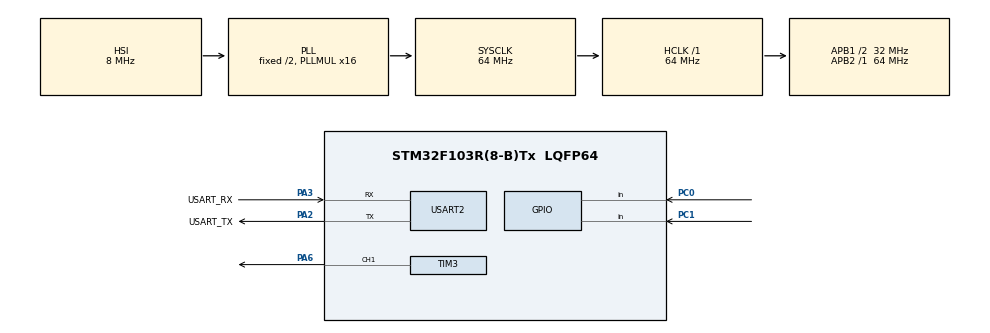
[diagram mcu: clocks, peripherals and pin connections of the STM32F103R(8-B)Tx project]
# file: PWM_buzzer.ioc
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Mcu.Family=STM32F1
Mcu.Name=STM32F103R(8-B)Tx
Mcu.Package=LQFP64
NVIC.PriorityGroup=NVIC_PRIORITYGROUP_4
PA13.GPIO_Label=TMS
PA13.Mode=Serial_Wire
PA13.Signal=SYS_JTMS-SWDIO
PA14.GPIO_Label=TCK
PA14.Mode=Serial_Wire
PA14.Signal=SYS_JTCK-SWCLK
PA2.GPIO_Label=USART_TX
PA2.GPIO_Mode=GPIO_MODE_AF_PP
PA2.GPIO_PuPd=GPIO_NOPULL
PA2.GPIO_Speed=GPIO_SPEED_FREQ_LOW
PA2.Mode=Asynchronous
PA2.Signal=USART2_TX
PA3.GPIO_Label=USART_RX
PA3.GPIO_Mode=GPIO_MODE_AF_PP
PA3.GPIO_PuPd=GPIO_NOPULL
PA3.GPIO_Speed=GPIO_SPEED_FREQ_LOW
PA3.Mode=Asynchronous
PA3.Signal=USART2_RX
PA6.Signal=S_TIM3_CH1
PB3.GPIO_Label=SWO
PB3.Signal=SYS_JTDO-TRACESWO
PC0.Signal=GPIO_Input
PC1.Signal=GPIO_Input
PC14-OSC32_IN.Signal=RCC_OSC32_IN
PC15-OSC32_OUT.Signal=RCC_OSC32_OUT
PD0-OSC_IN.Signal=RCC_OSC_IN
PD1-OSC_OUT.Signal=RCC_OSC_OUT
ProjectManager.HeapSize=0x200
ProjectManager.StackSize=0x400
ProjectManager.TargetToolchain=STM32CubeIDE
RCC.AHBFreq_Value=64000000
RCC.APB1CLKDivider=RCC_HCLK_DIV2
RCC.APB1Freq_Value=32000000
RCC.APB1TimFreq_Value=64000000
RCC.APB2Freq_Value=64000000
RCC.APB2TimFreq_Value=64000000
RCC.HCLKFreq_Value=64000000
RCC.PLLMUL=RCC_PLL_MUL16
RCC.RTCClockSelection=RCC_RTCCLKSOURCE_LSE
RCC.SYSCLKFreq_VALUE=64000000
RCC.SYSCLKSource=RCC_SYSCLKSOURCE_PLLCLK
RCC.USBFreq_Value=64000000
SH.S_TIM3_CH1.0=TIM3_CH1,PWM Generation1 CH1
TIM3.Channel-PWM\ Generation1\ CH1=TIM_CHANNEL_1
TIM3.Period=0
TIM3.Prescaler=64-1
USART2.VirtualMode=VM_ASYNC
VP_TIM3_VS_ClockSourceINT.Mode=Internal
board=NUCLEO-F103RB

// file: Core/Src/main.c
/* USER CODE BEGIN Header */
/**
  ******************************************************************************
  * @file           : main.c
  * @brief          : Main program body
  ******************************************************************************
  * @attention
  *
  * Copyright (c) 2022 STMicroelectronics.
  * All rights reserved.
  *
  * This software is licensed under terms that can be found in the LICENSE file
  * in the root directory of this software component.
  * If no LICENSE file comes with this software, it is provided AS-IS.
  *
  ******************************************************************************
  */
/* USER CODE END Header */
#include "main.h"

/* USER CODE BEGIN PM */
#define TIM3COUNTERCLOCK 1000000
/* USER CODE END PM */

TIM_HandleTypeDef htim3;

UART_HandleTypeDef huart2;

/* USER CODE BEGIN PV */
typedef struct sw_t sw_t;
struct sw_t
{
	GPIO_TypeDef *port;
	int pin;
};
sw_t sw[2] = {
		{GPIOC, GPIO_PIN_0},
		{GPIOC, GPIO_PIN_1}
};
enum notes
{
	C4 = 26163,
	D4 = 29366,
	E4 = 32963,
	F4 = 34923,
	G4 = 39200,
	A4 = 44000,
	B4 = 52325,
	C5 = 52325
};

enum notes SchoolBell[] = {
		G4, G4, A4, A4, G4, G4, E4, G4, G4, E4, E4, D4, G4, G4, A4, A4, G4, G4, E4, G4, E4, D4, C4
};
/* USER CODE END PV */

void SystemClock_Config(void);
static void MX_GPIO_Init(void);
static void MX_USART2_UART_Init(void);
static void MX_TIM3_Init(void);

int main(void)
{

  /* MCU Configuration--------------------------------------------------------*/

  /* Reset of all peripherals, Initializes the Flash interface and the Systick. */
  HAL_Init();

  /* Configure the system clock */
  SystemClock_Config();

  /* Initialize all configured peripherals */
  MX_GPIO_Init();
  MX_USART2_UART_Init();
  MX_TIM3_Init();

  /* Infinite loop */
  /* USER CODE BEGIN WHILE */
  while (1)
  {
	 if(HAL_GPIO_ReadPin(sw[0].port, sw[0].pin) == 1){
		 for (uint8_t i = 0; i < sizeof(SchoolBell)/sizeof(enum notes) && HAL_GPIO_ReadPin(sw[1].port, sw[1].pin) != 1; i++){
			 __HAL_TIM_SET_AUTORELOAD(&htim3, (int)(TIM3COUNTERCLOCK / SchoolBell[i] * 100));
			 __HAL_TIM_SET_COMPARE(&htim3, TIM_CHANNEL_1, TIM3COUNTERCLOCK / SchoolBell[i] * 100 /2);
			 HAL_TIM_PWM_Start(&htim3, TIM_CHANNEL_1);
			 HAL_Delay(500);
			 HAL_TIM_PWM_Stop(&htim3, TIM_CHANNEL_1);
			 HAL_Delay(10);
		 }
	 }
    /* USER CODE END WHILE */

  }
}

void SystemClock_Config(void)
{
  RCC_OscInitTypeDef RCC_OscInitStruct = {0};
  RCC_ClkInitTypeDef RCC_ClkInitStruct = {0};

  /** Initializes the RCC Oscillators according to the specified parameters
  * in the RCC_OscInitTypeDef structure.
  */
  RCC_OscInitStruct.OscillatorType = RCC_OSCILLATORTYPE_HSI;
  RCC_OscInitStruct.HSIState = RCC_HSI_ON;
  RCC_OscInitStruct.HSICalibrationValue = RCC_HSICALIBRATION_DEFAULT;
  RCC_OscInitStruct.PLL.PLLState = RCC_PLL_ON;
  RCC_OscInitStruct.PLL.PLLSource = RCC_PLLSOURCE_HSI_DIV2;
  RCC_OscInitStruct.PLL.PLLMUL = RCC_PLL_MUL16;
  if (HAL_RCC_OscConfig(&RCC_OscInitStruct) != HAL_OK)
  {
    Error_Handler();
  }

  /** Initializes the CPU, AHB and APB buses clocks
  */
  RCC_ClkInitStruct.ClockType = RCC_CLOCKTYPE_HCLK|RCC_CLOCKTYPE_SYSCLK
                              |RCC_CLOCKTYPE_PCLK1|RCC_CLOCKTYPE_PCLK2;
  RCC_ClkInitStruct.SYSCLKSource = RCC_SYSCLKSOURCE_PLLCLK;
  RCC_ClkInitStruct.AHBCLKDivider = RCC_SYSCLK_DIV1;
  RCC_ClkInitStruct.APB1CLKDivider = RCC_HCLK_DIV2;
  RCC_ClkInitStruct.APB2CLKDivider = RCC_HCLK_DIV1;

  if (HAL_RCC_ClockConfig(&RCC_ClkInitStruct, FLASH_LATENCY_2) != HAL_OK)
  {
    Error_Handler();
  }
}

static void MX_TIM3_Init(void)
{

  TIM_ClockConfigTypeDef sClockSourceConfig = {0};
  TIM_MasterConfigTypeDef sMasterConfig = {0};
  TIM_OC_InitTypeDef sConfigOC = {0};

  htim3.Instance = TIM3;
  htim3.Init.Prescaler = 64-1;
  htim3.Init.CounterMode = TIM_COUNTERMODE_UP;
  htim3.Init.Period = 0;
  htim3.Init.ClockDivision = TIM_CLOCKDIVISION_DIV1;
  htim3.Init.AutoReloadPreload = TIM_AUTORELOAD_PRELOAD_DISABLE;
  if (HAL_TIM_Base_Init(&htim3) != HAL_OK)
  {
    Error_Handler();
  }
  sClockSourceConfig.ClockSource = TIM_CLOCKSOURCE_INTERNAL;
  if (HAL_TIM_ConfigClockSource(&htim3, &sClockSourceConfig) != HAL_OK)
  {
    Error_Handler();
  }
  if (HAL_TIM_PWM_Init(&htim3) != HAL_OK)
  {
    Error_Handler();
  }
  sMasterConfig.MasterOutputTrigger = TIM_TRGO_RESET;
  sMasterConfig.MasterSlaveMode = TIM_MASTERSLAVEMODE_DISABLE;
  if (HAL_TIMEx_MasterConfigSynchronization(&htim3, &sMasterConfig) != HAL_OK)
  {
    Error_Handler();
  }
  sConfigOC.OCMode = TIM_OCMODE_PWM1;
  sConfigOC.Pulse = 0;
  sConfigOC.OCPolarity = TIM_OCPOLARITY_HIGH;
  sConfigOC.OCFastMode = TIM_OCFAST_DISABLE;
  if (HAL_TIM_PWM_ConfigChannel(&htim3, &sConfigOC, TIM_CHANNEL_1) != HAL_OK)
  {
    Error_Handler();
  }
  HAL_TIM_MspPostInit(&htim3);

}

static void MX_USART2_UART_Init(void)
{

  huart2.Instance = USART2;
  huart2.Init.BaudRate = 115200;
  huart2.Init.WordLength = UART_WORDLENGTH_8B;
  huart2.Init.StopBits = UART_STOPBITS_1;
  huart2.Init.Parity = UART_PARITY_NONE;
  huart2.Init.Mode = UART_MODE_TX_RX;
  huart2.Init.HwFlowCtl = UART_HWCONTROL_NONE;
  huart2.Init.OverSampling = UART_OVERSAMPLING_16;
  if (HAL_UART_Init(&huart2) != HAL_OK)
  {
    Error_Handler();
  }

}

static void MX_GPIO_Init(void)
{
  GPIO_InitTypeDef GPIO_InitStruct = {0};

  /* GPIO Ports Clock Enable */
  __HAL_RCC_GPIOC_CLK_ENABLE();
  __HAL_RCC_GPIOD_CLK_ENABLE();
  __HAL_RCC_GPIOA_CLK_ENABLE();
  __HAL_RCC_GPIOB_CLK_ENABLE();

  /*Configure GPIO pins : PC0 PC1 */
  GPIO_InitStruct.Pin = GPIO_PIN_0|GPIO_PIN_1;
  GPIO_InitStruct.Mode = GPIO_MODE_INPUT;
  GPIO_InitStruct.Pull = GPIO_NOPULL;
  HAL_GPIO_Init(GPIOC, &GPIO_InitStruct);

}

void Error_Handler(void)
{
  __disable_irq();
  while (1)
  {
  }
}
